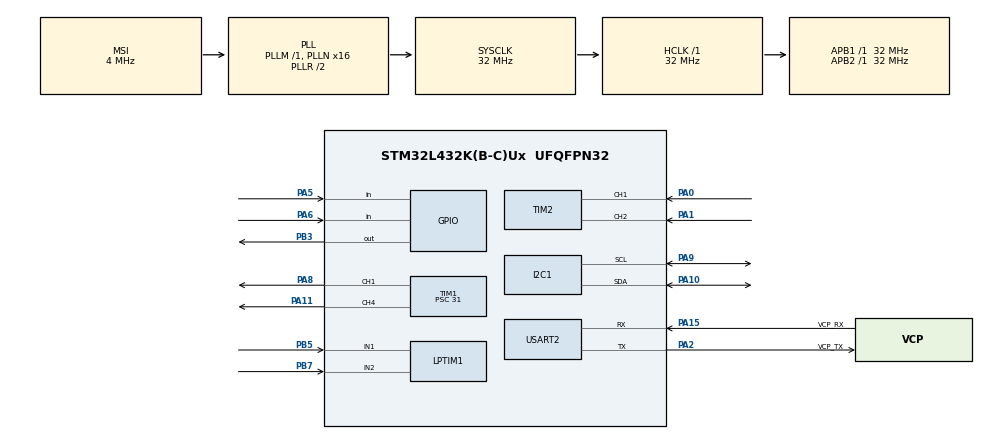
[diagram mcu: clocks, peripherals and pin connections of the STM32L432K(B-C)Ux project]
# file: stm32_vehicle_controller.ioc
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I2C1.Timing=0x00B07CB4
LPTIM1.ULPClockPolarity=LPTIM_CLOCKPOLARITY_RISING_FALLING
Mcu.Family=STM32L4
Mcu.Name=STM32L432K(B-C)Ux
Mcu.Package=UFQFPN32
NUCLEO-L432KC.LD3=true
NVIC.PriorityGroup=NVIC_PRIORITYGROUP_4
NVIC.USART2_IRQn=true\:0\:0\:false\:false\:true\:true\:true\:true
PA0.Signal=S_TIM2_CH1
PA1.Signal=S_TIM2_CH2
PA10.Mode=I2C
PA10.Signal=I2C1_SDA
PA11.Signal=S_TIM1_CH4
PA13\ (JTMS-SWDIO).GPIO_Label=SWDIO
PA13\ (JTMS-SWDIO).Signal=SYS_JTMS-SWDIO
PA14\ (JTCK-SWCLK).GPIO_Label=SWCLK
PA14\ (JTCK-SWCLK).Signal=SYS_JTCK-SWCLK
PA15\ (JTDI).GPIO_Label=VCP_RX
PA15\ (JTDI).Mode=Asynchronous
PA15\ (JTDI).Signal=USART2_RX
PA2.GPIO_Label=VCP_TX
PA2.Mode=Asynchronous
PA2.Signal=USART2_TX
PA5.Signal=GPIO_Input
PA6.Signal=GPIO_Input
PA8.Signal=S_TIM1_CH1
PA9.Mode=I2C
PA9.Signal=I2C1_SCL
PB3\ (JTDO-TRACESWO).Signal=GPIO_Output
PB5.Mode=Encoder_mode_occur1
PB5.Signal=LPTIM1_IN1
PB7.Mode=Encoder_mode_occur1
PB7.Signal=LPTIM1_IN2
PC14-OSC32_IN\ (PC14).Signal=RCC_OSC32_IN
PC15-OSC32_OUT\ (PC15).Signal=RCC_OSC32_OUT
ProjectManager.HeapSize=0x200
ProjectManager.StackSize=0x400
ProjectManager.TargetToolchain=STM32CubeIDE
RCC.AHBFreq_Value=32000000
RCC.APB1Freq_Value=32000000
RCC.APB1TimFreq_Value=32000000
RCC.APB2Freq_Value=32000000
RCC.APB2TimFreq_Value=32000000
RCC.CortexFreq_Value=32000000
RCC.HCLKFreq_Value=32000000
RCC.HSE_VALUE=8000000
RCC.HSI16_VALUE=16000000
RCC.HSI48_VALUE=48000000
RCC.HSI_VALUE=16000000
RCC.LSE_VALUE=32768
RCC.MSI_VALUE=4000000
RCC.PLLMUL=RCC_PLLMUL_4
RCC.PLLN=16
RCC.SYSCLKFreq_VALUE=32000000
RCC.SYSCLKSource=RCC_SYSCLKSOURCE_PLLCLK
RCC.VCOOutputFreq_Value=64000000
SH.S_TIM1_CH1.0=TIM1_CH1,PWM Generation1 CH1
SH.S_TIM1_CH4.0=TIM1_CH4,PWM Generation4 CH4
SH.S_TIM2_CH1.0=TIM2_CH1,Encoder_Interface
SH.S_TIM2_CH2.0=TIM2_CH2,Encoder_Interface
TIM1.Channel-PWM\ Generation1\ CH1=TIM_CHANNEL_1
TIM1.Channel-PWM\ Generation4\ CH4=TIM_CHANNEL_4
TIM1.Period=19999
TIM1.Prescaler=31
TIM1.Pulse-PWM\ Generation1\ CH1=1500
TIM1.Pulse-PWM\ Generation4\ CH4=1500
TIM2.EncoderMode=TIM_ENCODERMODE_TI12
USART2.VirtualMode-Asynchronous=VM_ASYNC
VP_NUCLEO-L432KC_VS_BSP_COMMON.Mode=COMMON
board=NUCLEO-L432KC

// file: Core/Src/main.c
/* USER CODE BEGIN Header */
/**
  ******************************************************************************
  * @file           : main.c
  * @brief          : Main program body
  ******************************************************************************
  * @attention
  *
  * Copyright (c) 2026 STMicroelectronics.
  * All rights reserved.
  *
  * This software is licensed under terms that can be found in the LICENSE file
  * in the root directory of this software component.
  * If no LICENSE file comes with this software, it is provided AS-IS.
  *
  ******************************************************************************
  */
/* USER CODE END Header */
#include "main.h"

/* USER CODE BEGIN Includes */
#include <stdio.h>
#include <string.h>
/* USER CODE END Includes */

/* USER CODE BEGIN PD */
#define MPU9250_ADDR          (0x68 << 1)
#define MPU9250_WHO_AM_I      0x75
#define MPU9250_PWR_MGMT_1    0x6B
#define MPU9250_TIMEOUT_MS    10
#define MPU9250_ACCEL_XOUT_H   0x3B
#define UART_RX_RING_SIZE 256
#define GYRO_BIAS_X    (-93.59f)
#define GYRO_BIAS_Y    (193.61f)
#define GYRO_BIAS_Z    (-44.02f)
#define ACCEL_BIAS_X    433.2640f
#define ACCEL_BIAS_Y    369.6160f
#define ACCEL_BIAS_Z    4045.8200f

#define ACCEL_SCALE_X   0.999424f
#define ACCEL_SCALE_Y   1.000798f
#define ACCEL_SCALE_Z   0.983851f

#define MPU9250_USER_CTRL      0x6A
#define MPU9250_INT_PIN_CFG    0x37

#define AK8963_ADDR           (0x0C << 1)
#define AK8963_WIA            0x00

#define AK8963_ST1           0x02
#define AK8963_HXL           0x03
#define AK8963_CNTL1         0x0A
#define AK8963_ASAX          0x10

#define MAG_BIAS_X     34.956988f
#define MAG_BIAS_Y     55.816963f
#define MAG_BIAS_Z   -342.012000f

#define MAG_SCALE_X    0.974791f
#define MAG_SCALE_Y    1.038557f
#define MAG_SCALE_Z    1.025115f

#define TELEMETRY_PERIOD_MS 100
/* USER CODE END PD */

/* USER CODE BEGIN PM */
#define STEERING_NEG_US          1100
#define STEERING_CENTER_US       1400
#define STEERING_POS_US          1700

#define ESC_FULL_REVERSE_US      1100
#define ESC_REVERSE_START_US     1200
#define ESC_NEUTRAL_US           1500
#define ESC_FORWARD_START_US     1600
#define ESC_FULL_FORWARD_US      1900

#define COMMAND_MAX              1000
#define UART_BUFFER_SIZE         64
#define SERIAL_WATCHDOG_MS       500
/* USER CODE END PM */

I2C_HandleTypeDef hi2c1;

LPTIM_HandleTypeDef hlptim1;

TIM_HandleTypeDef htim1;
TIM_HandleTypeDef htim2;

UART_HandleTypeDef huart2;

/* USER CODE BEGIN PV */
uint8_t rx_byte;

char rx_buffer[UART_BUFFER_SIZE];
uint8_t rx_index = 0;

uint32_t last_command_ms = 0;
uint8_t watchdog_active = 0;

int16_t steering_cmd = 0;
int16_t throttle_cmd = 0;

uint16_t steering_pwm = STEERING_CENTER_US;
uint16_t esc_pwm = ESC_NEUTRAL_US;

int8_t drive_direction = 0;
// -1 = reverse
//  0 = neutral
// +1 = forward

static uint32_t prev_left = 0;
static uint16_t prev_right = 0;

static int64_t total_left = 0;
static int64_t total_right = 0;

static uint8_t imu_ready = 0;

static int16_t ax, ay, az;
static int16_t gx, gy, gz;

static volatile uint8_t rx_ring[UART_RX_RING_SIZE];

static volatile uint8_t rx_head = 0;
static volatile uint8_t rx_tail = 0;

static volatile uint8_t rx_fault = 0;
static uint8_t rx_discard = 0;

static volatile uint32_t rx_count = 0;
static volatile uint32_t rx_error = 0;
static uint32_t last_debug_ms = 0;

static float gx_corrected;
static float gy_corrected;
static float gz_corrected;

static float ax_corrected;
static float ay_corrected;
static float az_corrected;

static uint8_t mag_ready = 0;

static int16_t mx, my, mz;

static float mag_adjust[3];

static float mx_corrected;
static float my_corrected;
static float mz_corrected;

static uint32_t last_telemetry_ms = 0;

static uint8_t rx_needs_neutral = 0;
static uint32_t rx_recoveries = 0;
/* USER CODE END PV */

void SystemClock_Config(void);
static void MX_GPIO_Init(void);
static void MX_TIM1_Init(void);
static void MX_USART2_UART_Init(void);
static void MX_I2C1_Init(void);
static void MX_LPTIM1_Init(void);
static void MX_TIM2_Init(void);

/* USER CODE BEGIN 0 */
static void int64_to_string(int64_t value, char *out)
{
    char temp[21];
    int i = 0;

    uint64_t magnitude = value < 0
        ? (uint64_t)(-(value + 1)) + 1
        : (uint64_t)value;

    if (value < 0)
        *out++ = '-';

    do
    {
        temp[i++] = '0' + magnitude % 10;
        magnitude /= 10;
    }
    while (magnitude > 0);

    while (i > 0)
        *out++ = temp[--i];

    *out = '\0';
}
static uint8_t ak8963_detect(void)
{
    uint8_t data;

    // Disable internal I2C master
    data = 0x00;

    if (HAL_I2C_Mem_Write(
            &hi2c1,
            MPU9250_ADDR,
            MPU9250_USER_CTRL,
            I2C_MEMADD_SIZE_8BIT,
            &data, 1, MPU9250_TIMEOUT_MS) != HAL_OK)
    {
        return 0;
    }

    // Enable bypass mode
    data = 0x02;

    if (HAL_I2C_Mem_Write(
            &hi2c1,
            MPU9250_ADDR,
            MPU9250_INT_PIN_CFG,
            I2C_MEMADD_SIZE_8BIT,
            &data, 1, MPU9250_TIMEOUT_MS) != HAL_OK)
    {
        return 0;
    }

    // Read magnetometer device ID
    data = 0;

    if (HAL_I2C_Mem_Read(
            &hi2c1,
            AK8963_ADDR,
            AK8963_WIA,
            I2C_MEMADD_SIZE_8BIT,
            &data, 1, MPU9250_TIMEOUT_MS) != HAL_OK)
    {
        return 0;
    }

    return data == 0x48;
}

static uint8_t ak8963_set_mode(uint8_t mode)
{
    return HAL_I2C_Mem_Write(
        &hi2c1,
        AK8963_ADDR,
        AK8963_CNTL1,
        I2C_MEMADD_SIZE_8BIT,
        &mode, 1, MPU9250_TIMEOUT_MS
    ) == HAL_OK;
}

static uint8_t ak8963_init(void)
{
    uint8_t asa[3];

    // Power-down mode
    if (!ak8963_set_mode(0x00))
        return 0;

    HAL_Delay(1);

    // Fuse ROM access mode
    if (!ak8963_set_mode(0x0F))
        return 0;

    HAL_Delay(1);

    // Read factory sensitivity adjustment
    if (HAL_I2C_Mem_Read(
            &hi2c1,
            AK8963_ADDR,
            AK8963_ASAX,
            I2C_MEMADD_SIZE_8BIT,
            asa, 3, MPU9250_TIMEOUT_MS) != HAL_OK)
    {
        return 0;
    }

    for (int i = 0; i < 3; i++)
    {
        mag_adjust[i] =
            ((float)asa[i] - 128.0f) / 256.0f + 1.0f;
    }

    // Return to power-down mode
    if (!ak8963_set_mode(0x00))
        return 0;

    HAL_Delay(1);

    // Continuous measurement, 100 Hz, 16 bits
    if (!ak8963_set_mode(0x16))
        return 0;

    return 1;
}

static uint8_t mpu9250_read_raw(void)
{
    uint8_t data[14];

    if (HAL_I2C_Mem_Read(
            &hi2c1,
            MPU9250_ADDR,
            MPU9250_ACCEL_XOUT_H,
            I2C_MEMADD_SIZE_8BIT,
            data,
            14,
            MPU9250_TIMEOUT_MS) != HAL_OK)
    {
        return 0;
    }

    ax = (int16_t)((data[0] << 8) | data[1]);
    ay = (int16_t)((data[2] << 8) | data[3]);
    az = (int16_t)((data[4] << 8) | data[5]);

    gx = (int16_t)((data[8] << 8) | data[9]);
    gy = (int16_t)((data[10] << 8) | data[11]);
    gz = (int16_t)((data[12] << 8) | data[13]);

    gx_corrected = (float)gx - GYRO_BIAS_X;
    gy_corrected = (float)gy - GYRO_BIAS_Y;
    gz_corrected = (float)gz - GYRO_BIAS_Z;

    ax_corrected = ((float)ax - ACCEL_BIAS_X) * ACCEL_SCALE_X;
    ay_corrected = ((float)ay - ACCEL_BIAS_Y) * ACCEL_SCALE_Y;
    az_corrected = ((float)az - ACCEL_BIAS_Z) * ACCEL_SCALE_Z;

    return 1;
}

static uint8_t mpu9250_init(void)
{
    uint8_t who_am_i = 0;

    if (HAL_I2C_Mem_Read(
            &hi2c1,
            MPU9250_ADDR,
            MPU9250_WHO_AM_I,
            I2C_MEMADD_SIZE_8BIT,
            &who_am_i,
            1,
            MPU9250_TIMEOUT_MS) != HAL_OK)
    {
        return 0;
    }

    if (who_am_i != 0x71)
    {
        return 0;
    }

    uint8_t data = 0x00;

    if (HAL_I2C_Mem_Write(
            &hi2c1,
            MPU9250_ADDR,
            MPU9250_PWR_MGMT_1,
            I2C_MEMADD_SIZE_8BIT,
            &data,
            1,
            MPU9250_TIMEOUT_MS) != HAL_OK)
    {
        return 0;
    }

    return 1;
}

static int16_t clamp_command(int value)
{
    if (value > COMMAND_MAX)
        return COMMAND_MAX;

    if (value < -COMMAND_MAX)
        return -COMMAND_MAX;

    return (int16_t)value;
}

static uint16_t steering_to_pwm(int16_t command)
{
    if (command > 0)
    {
        return STEERING_CENTER_US -
            ((uint32_t)command *
            (STEERING_CENTER_US - STEERING_NEG_US)) /
            COMMAND_MAX;
    }

    if (command < 0)
    {
        return STEERING_CENTER_US +
            ((uint32_t)(-command) *
            (STEERING_POS_US - STEERING_CENTER_US)) /
            COMMAND_MAX;
    }

    return STEERING_CENTER_US;
}

static uint16_t throttle_to_pwm(int16_t command)
{
    if (command > 0)
    {
        return ESC_FORWARD_START_US +
            ((uint32_t)command *
            (ESC_FULL_FORWARD_US - ESC_FORWARD_START_US)) /
            COMMAND_MAX;
    }

    if (command < 0)
    {
        return ESC_REVERSE_START_US -
            ((uint32_t)(-command) *
            (ESC_REVERSE_START_US - ESC_FULL_REVERSE_US)) /
            COMMAND_MAX;
    }

    return ESC_NEUTRAL_US;
}

static void apply_vehicle_command(int16_t steering, int16_t throttle)
{
    steering = clamp_command(steering);
    throttle = clamp_command(throttle);

    steering_cmd = steering;
    throttle_cmd = throttle;

    steering_pwm = steering_to_pwm(steering);

    __HAL_TIM_SET_COMPARE(
        &htim1,
        TIM_CHANNEL_1,
        steering_pwm
    );

    int8_t requested_direction = 0;

    if (throttle > 0)
        requested_direction = 1;
    else if (throttle < 0)
        requested_direction = -1;

    /*
     * Direct direction change:
     *
     * forward -> reverse
     * reverse -> forward
     *
     * Force an explicit neutral cycle first.
     */
    if (
        drive_direction != 0 &&
        requested_direction != 0 &&
        requested_direction != drive_direction
    )
    {
        esc_pwm = ESC_NEUTRAL_US;
        drive_direction = 0;

        __HAL_TIM_SET_COMPARE(
            &htim1,
            TIM_CHANNEL_4,
            esc_pwm
        );

        return;
    }

    esc_pwm = throttle_to_pwm(throttle);

    __HAL_TIM_SET_COMPARE(
        &htim1,
        TIM_CHANNEL_4,
        esc_pwm
    );

    drive_direction = requested_direction;
}

static void uart_recover(void)
{
    // Stop the vehicle
    apply_vehicle_command(0, 0);
    watchdog_active = 1;
    rx_needs_neutral = 1;

    HAL_NVIC_DisableIRQ(USART2_IRQn);

    if (HAL_UART_AbortReceive(&huart2) == HAL_OK)
    {
        __HAL_UART_CLEAR_FLAG(
            &huart2,
            UART_CLEAR_OREF | UART_CLEAR_FEF |
            UART_CLEAR_NEF | UART_CLEAR_PEF
        );

        __HAL_UART_SEND_REQ(
            &huart2, UART_RXDATA_FLUSH_REQUEST
        );

        // Reset reception buffers
        rx_head = 0;
        rx_tail = 0;
        rx_index = 0;
        rx_discard = 1;

        rx_fault = 0;

        if (HAL_UART_Receive_IT(
                &huart2, &rx_byte, 1) == HAL_OK)
        {
            rx_recoveries++;
        }
        else
        {
            rx_fault = 1;
        }
    }

    HAL_NVIC_EnableIRQ(USART2_IRQn);
}

static void send_status(void)
{
    char buffer[128];

    snprintf(
        buffer,
        sizeof(buffer),
        "OK S=%d T=%d SPWM=%u EPWM=%u\r\n",
        steering_cmd,
        throttle_cmd,
        steering_pwm,
        esc_pwm
    );

    HAL_UART_Transmit(
        &huart2,
        (uint8_t *)buffer,
        strlen(buffer),
        HAL_MAX_DELAY
    );
}

static void process_command(char *line)
{
    int steering;
    int throttle;

    if (sscanf(line, "C,%d,%d", &steering, &throttle) == 2)
    {
    	if (rx_fault)
    	    return;

    	if (rx_needs_neutral)
    	{
    	    if (steering != 0 || throttle != 0)
    	        return;

    	    rx_needs_neutral = 0;
    	}

        apply_vehicle_command(
            (int16_t)steering,
            (int16_t)throttle
        );

        last_command_ms = HAL_GetTick();
        watchdog_active = 0;

        send_status();
    }

}

static uint8_t ak8963_read_raw(void)
{
    uint8_t status;
    uint8_t data[7];

    if (HAL_I2C_Mem_Read(
            &hi2c1,
            AK8963_ADDR,
            AK8963_ST1,
            I2C_MEMADD_SIZE_8BIT,
            &status, 1, MPU9250_TIMEOUT_MS) != HAL_OK)
    {
        return 0;
    }

    // Check data ready
    if (!(status & 0x01))
        return 0;

    // Read measurement and ST2
    if (HAL_I2C_Mem_Read(
            &hi2c1,
            AK8963_ADDR,
            AK8963_HXL,
            I2C_MEMADD_SIZE_8BIT,
            data, 7, MPU9250_TIMEOUT_MS) != HAL_OK)
    {
        return 0;
    }

    // Reject magnetic overflow
    if (data[6] & 0x08)
        return 0;

    mx = (int16_t)((data[1] << 8) | data[0]);
    my = (int16_t)((data[3] << 8) | data[2]);
    mz = (int16_t)((data[5] << 8) | data[4]);

    mx_corrected = (mx * mag_adjust[0] - MAG_BIAS_X) * MAG_SCALE_X;

    my_corrected = (my * mag_adjust[1] - MAG_BIAS_Y) * MAG_SCALE_Y;

    mz_corrected = (mz * mag_adjust[2] - MAG_BIAS_Z) * MAG_SCALE_Z;

    return 1;
}

static void telemetry_update(void)
{
    uint32_t now = HAL_GetTick();

    if (now - last_telemetry_ms < TELEMETRY_PERIOD_MS)
        return;

    last_telemetry_ms = now;

    // Read encoders
    uint32_t left = __HAL_TIM_GET_COUNTER(&htim2);
    uint16_t right = HAL_LPTIM_ReadCounter(&hlptim1);

    if (right != HAL_LPTIM_ReadCounter(&hlptim1))
        return;

    // Handle counter wraparound
    total_left += (int32_t)(left - prev_left);
    total_right += (int16_t)(right - prev_right);

    prev_left = left;
    prev_right = right;

    // Read sensors
    uint8_t imu_valid = imu_ready && mpu9250_read_raw();
    uint8_t mag_valid = mag_ready && ak8963_read_raw();

    // Format encoder counters
    char left_str[22];
    char right_str[22];

    int64_to_string(total_left, left_str);
    int64_to_string(total_right, right_str);

    // Build telemetry packet
    char msg[192];

    int len = snprintf(
        msg, sizeof(msg),
        "T,%lu,%s,%s,%u,%d,%d,%d,%d,%d,%d,%u,%d,%d,%d\r\n",
        (unsigned long)now,
        left_str,
        right_str,
        (unsigned int)imu_valid,
        imu_valid ? (int)ax_corrected : 0,
        imu_valid ? (int)ay_corrected : 0,
        imu_valid ? (int)az_corrected : 0,
        imu_valid ? (int)gx_corrected : 0,
        imu_valid ? (int)gy_corrected : 0,
        imu_valid ? (int)gz_corrected : 0,
        (unsigned int)mag_valid,
        mag_valid ? (int)mx_corrected : 0,
        mag_valid ? (int)my_corrected : 0,
        mag_valid ? (int)mz_corrected : 0
    );

    if (len > 0 && len < (int)sizeof(msg))
    {
        HAL_UART_Transmit(
            &huart2, (uint8_t *)msg, len, 20
        );
    }
}
/* USER CODE END 0 */

int main(void)
{

  /* MCU Configuration--------------------------------------------------------*/

  /* Reset of all peripherals, Initializes the Flash interface and the Systick. */
  HAL_Init();

  /* Configure the system clock */
  SystemClock_Config();

  /* Initialize all configured peripherals */
  MX_GPIO_Init();
  MX_TIM1_Init();
  MX_USART2_UART_Init();
  MX_I2C1_Init();
  MX_LPTIM1_Init();
  MX_TIM2_Init();
  /* USER CODE BEGIN 2 */
  HAL_TIM_PWM_Start(&htim1, TIM_CHANNEL_1);
  HAL_TIM_PWM_Start(&htim1, TIM_CHANNEL_4);

  apply_vehicle_command(0, 0);

  last_command_ms = HAL_GetTick();

  if (HAL_TIM_Encoder_Start(&htim2, TIM_CHANNEL_ALL) != HAL_OK)
  {
      Error_Handler();
  }

  if (HAL_LPTIM_Encoder_Start(&hlptim1, 65535) != HAL_OK)
  {
      Error_Handler();
  }

  prev_left = __HAL_TIM_GET_COUNTER(&htim2);
  prev_right = HAL_LPTIM_ReadCounter(&hlptim1);

  imu_ready = mpu9250_init();

  const char *msg = imu_ready
      ? "IMU OK\r\n"
      : "IMU ERROR\r\n";

  HAL_UART_Transmit(
      &huart2,
      (uint8_t *)msg,
      strlen(msg),
      20
  );

  if (HAL_UART_Receive_IT(&huart2, &rx_byte, 1) != HAL_OK)
  {
      rx_fault = 1;
  }

  mag_ready = imu_ready &&
              ak8963_detect() &&
              ak8963_init();

  const char *mag_msg = mag_ready
      ? "MAG OK\r\n"
      : "MAG ERROR\r\n";

  HAL_UART_Transmit(
      &huart2,
      (uint8_t *)mag_msg,
      strlen(mag_msg),
      20
  );
  /* USER CODE END 2 */

  /* Initialize leds */
  BSP_LED_Init(LED_GREEN);

  /* Infinite loop */
  /* USER CODE BEGIN WHILE */
  while (1)
  {
	  telemetry_update();

	  while (!rx_fault && rx_tail != rx_head)
	  {
	      uint8_t byte = rx_ring[rx_tail];
	      rx_tail = (uint8_t)(rx_tail + 1);

	      if (byte == '\n' || byte == '\r')
	      {
	          if (!rx_discard && rx_index > 0 && !rx_fault)
	          {
	              rx_buffer[rx_index] = '\0';
	              process_command(rx_buffer);
	          }

	          rx_index = 0;
	          rx_discard = 0;
	      }
	      else if (!rx_discard)
	      {
	          if (rx_index < UART_BUFFER_SIZE - 1)
	          {
	              rx_buffer[rx_index++] = byte;
	          }
	          else
	          {
	              rx_index = 0;
	              rx_discard = 1;
	          }
	      }
	  }

	  if (rx_fault)
	  {
	      uart_recover();
	  }

	  if (
		  !watchdog_active &&
		  (HAL_GetTick() - last_command_ms > SERIAL_WATCHDOG_MS)
	  )
	  {
		  apply_vehicle_command(0, 0);

		  watchdog_active = 1;
	  }
	  if (HAL_GetTick() - last_debug_ms >= 1000)
	  {
		  last_debug_ms = HAL_GetTick();

		  char msg[100];

		  int len = snprintf(
		      msg, sizeof(msg),
		      "DEBUG RX=%lu FAULT=%u ERROR=0x%lX REC=%lu ARM=%u\r\n",
		      (unsigned long)rx_count,
		      (unsigned int)rx_fault,
		      (unsigned long)rx_error,
		      (unsigned long)rx_recoveries,
		      (unsigned int)(!rx_needs_neutral && !rx_fault)
		  );

		  HAL_UART_Transmit(
			  &huart2, (uint8_t *)msg, len, 10
		  );
	  }
    /* USER CODE END WHILE */

  }
}

void SystemClock_Config(void)
{
  RCC_OscInitTypeDef RCC_OscInitStruct = {0};
  RCC_ClkInitTypeDef RCC_ClkInitStruct = {0};

  /** Configure the main internal regulator output voltage
  */
  if (HAL_PWREx_ControlVoltageScaling(PWR_REGULATOR_VOLTAGE_SCALE1) != HAL_OK)
  {
    Error_Handler();
  }

  /** Initializes the RCC Oscillators according to the specified parameters
  * in the RCC_OscInitTypeDef structure.
  */
  RCC_OscInitStruct.OscillatorType = RCC_OSCILLATORTYPE_MSI;
  RCC_OscInitStruct.MSIState = RCC_MSI_ON;
  RCC_OscInitStruct.MSICalibrationValue = 0;
  RCC_OscInitStruct.MSIClockRange = RCC_MSIRANGE_6;
  RCC_OscInitStruct.PLL.PLLState = RCC_PLL_ON;
  RCC_OscInitStruct.PLL.PLLSource = RCC_PLLSOURCE_MSI;
  RCC_OscInitStruct.PLL.PLLM = 1;
  RCC_OscInitStruct.PLL.PLLN = 16;
  RCC_OscInitStruct.PLL.PLLP = RCC_PLLP_DIV7;
  RCC_OscInitStruct.PLL.PLLQ = RCC_PLLQ_DIV2;
  RCC_OscInitStruct.PLL.PLLR = RCC_PLLR_DIV2;
  if (HAL_RCC_OscConfig(&RCC_OscInitStruct) != HAL_OK)
  {
    Error_Handler();
  }

  /** Initializes the CPU, AHB and APB buses clocks
  */
  RCC_ClkInitStruct.ClockType = RCC_CLOCKTYPE_HCLK|RCC_CLOCKTYPE_SYSCLK
                              |RCC_CLOCKTYPE_PCLK1|RCC_CLOCKTYPE_PCLK2;
  RCC_ClkInitStruct.SYSCLKSource = RCC_SYSCLKSOURCE_PLLCLK;
  RCC_ClkInitStruct.AHBCLKDivider = RCC_SYSCLK_DIV1;
  RCC_ClkInitStruct.APB1CLKDivider = RCC_HCLK_DIV1;
  RCC_ClkInitStruct.APB2CLKDivider = RCC_HCLK_DIV1;

  if (HAL_RCC_ClockConfig(&RCC_ClkInitStruct, FLASH_LATENCY_1) != HAL_OK)
  {
    Error_Handler();
  }
}

static void MX_I2C1_Init(void)
{

  hi2c1.Instance = I2C1;
  hi2c1.Init.Timing = 0x00B07CB4;
  hi2c1.Init.OwnAddress1 = 0;
  hi2c1.Init.AddressingMode = I2C_ADDRESSINGMODE_7BIT;
  hi2c1.Init.DualAddressMode = I2C_DUALADDRESS_DISABLE;
  hi2c1.Init.OwnAddress2 = 0;
  hi2c1.Init.OwnAddress2Masks = I2C_OA2_NOMASK;
  hi2c1.Init.GeneralCallMode = I2C_GENERALCALL_DISABLE;
  hi2c1.Init.NoStretchMode = I2C_NOSTRETCH_DISABLE;
  if (HAL_I2C_Init(&hi2c1) != HAL_OK)
  {
    Error_Handler();
  }

  /** Configure Analogue filter
  */
  if (HAL_I2CEx_ConfigAnalogFilter(&hi2c1, I2C_ANALOGFILTER_ENABLE) != HAL_OK)
  {
    Error_Handler();
  }

  /** Configure Digital filter
  */
  if (HAL_I2CEx_ConfigDigitalFilter(&hi2c1, 0) != HAL_OK)
  {
    Error_Handler();
  }

}

static void MX_LPTIM1_Init(void)
{

  hlptim1.Instance = LPTIM1;
  hlptim1.Init.Clock.Source = LPTIM_CLOCKSOURCE_APBCLOCK_LPOSC;
  hlptim1.Init.Clock.Prescaler = LPTIM_PRESCALER_DIV1;
  hlptim1.Init.UltraLowPowerClock.Polarity = LPTIM_CLOCKPOLARITY_RISING_FALLING;
  hlptim1.Init.UltraLowPowerClock.SampleTime = LPTIM_CLOCKSAMPLETIME_DIRECTTRANSITION;
  hlptim1.Init.Trigger.Source = LPTIM_TRIGSOURCE_SOFTWARE;
  hlptim1.Init.OutputPolarity = LPTIM_OUTPUTPOLARITY_HIGH;
  hlptim1.Init.UpdateMode = LPTIM_UPDATE_IMMEDIATE;
  hlptim1.Init.CounterSource = LPTIM_COUNTERSOURCE_EXTERNAL;
  hlptim1.Init.Input1Source = LPTIM_INPUT1SOURCE_GPIO;
  hlptim1.Init.Input2Source = LPTIM_INPUT2SOURCE_GPIO;
  if (HAL_LPTIM_Init(&hlptim1) != HAL_OK)
  {
    Error_Handler();
  }

}

static void MX_TIM1_Init(void)
{

  TIM_MasterConfigTypeDef sMasterConfig = {0};
  TIM_OC_InitTypeDef sConfigOC = {0};
  TIM_BreakDeadTimeConfigTypeDef sBreakDeadTimeConfig = {0};

  htim1.Instance = TIM1;
  htim1.Init.Prescaler = 31;
  htim1.Init.CounterMode = TIM_COUNTERMODE_UP;
  htim1.Init.Period = 19999;
  htim1.Init.ClockDivision = TIM_CLOCKDIVISION_DIV1;
  htim1.Init.RepetitionCounter = 0;
  htim1.Init.AutoReloadPreload = TIM_AUTORELOAD_PRELOAD_DISABLE;
  if (HAL_TIM_PWM_Init(&htim1) != HAL_OK)
  {
    Error_Handler();
  }
  sMasterConfig.MasterOutputTrigger = TIM_TRGO_RESET;
  sMasterConfig.MasterOutputTrigger2 = TIM_TRGO2_RESET;
  sMasterConfig.MasterSlaveMode = TIM_MASTERSLAVEMODE_DISABLE;
  if (HAL_TIMEx_MasterConfigSynchronization(&htim1, &sMasterConfig) != HAL_OK)
  {
    Error_Handler();
  }
  sConfigOC.OCMode = TIM_OCMODE_PWM1;
  sConfigOC.Pulse = 1500;
  sConfigOC.OCPolarity = TIM_OCPOLARITY_HIGH;
  sConfigOC.OCNPolarity = TIM_OCNPOLARITY_HIGH;
  sConfigOC.OCFastMode = TIM_OCFAST_DISABLE;
  sConfigOC.OCIdleState = TIM_OCIDLESTATE_RESET;
  sConfigOC.OCNIdleState = TIM_OCNIDLESTATE_RESET;
  if (HAL_TIM_PWM_ConfigChannel(&htim1, &sConfigOC, TIM_CHANNEL_1) != HAL_OK)
  {
    Error_Handler();
  }
  if (HAL_TIM_PWM_ConfigChannel(&htim1, &sConfigOC, TIM_CHANNEL_4) != HAL_OK)
  {
    Error_Handler();
  }
  sBreakDeadTimeConfig.OffStateRunMode = TIM_OSSR_DISABLE;
  sBreakDeadTimeConfig.OffStateIDLEMode = TIM_OSSI_DISABLE;
  sBreakDeadTimeConfig.LockLevel = TIM_LOCKLEVEL_OFF;
  sBreakDeadTimeConfig.DeadTime = 0;
  sBreakDeadTimeConfig.BreakState = TIM_BREAK_DISABLE;
  sBreakDeadTimeConfig.BreakPolarity = TIM_BREAKPOLARITY_HIGH;
  sBreakDeadTimeConfig.BreakFilter = 0;
  sBreakDeadTimeConfig.Break2State = TIM_BREAK2_DISABLE;
  sBreakDeadTimeConfig.Break2Polarity = TIM_BREAK2POLARITY_HIGH;
  sBreakDeadTimeConfig.Break2Filter = 0;
  sBreakDeadTimeConfig.AutomaticOutput = TIM_AUTOMATICOUTPUT_DISABLE;
  if (HAL_TIMEx_ConfigBreakDeadTime(&htim1, &sBreakDeadTimeConfig) != HAL_OK)
  {
    Error_Handler();
  }
  HAL_TIM_MspPostInit(&htim1);

}

static void MX_TIM2_Init(void)
{

  TIM_Encoder_InitTypeDef sConfig = {0};
  TIM_MasterConfigTypeDef sMasterConfig = {0};

  htim2.Instance = TIM2;
  htim2.Init.Prescaler = 0;
  htim2.Init.CounterMode = TIM_COUNTERMODE_UP;
  htim2.Init.Period = 4294967295;
  htim2.Init.ClockDivision = TIM_CLOCKDIVISION_DIV1;
  htim2.Init.AutoReloadPreload = TIM_AUTORELOAD_PRELOAD_DISABLE;
  sConfig.EncoderMode = TIM_ENCODERMODE_TI12;
  sConfig.IC1Polarity = TIM_ICPOLARITY_RISING;
  sConfig.IC1Selection = TIM_ICSELECTION_DIRECTTI;
  sConfig.IC1Prescaler = TIM_ICPSC_DIV1;
  sConfig.IC1Filter = 0;
  sConfig.IC2Polarity = TIM_ICPOLARITY_RISING;
  sConfig.IC2Selection = TIM_ICSELECTION_DIRECTTI;
  sConfig.IC2Prescaler = TIM_ICPSC_DIV1;
  sConfig.IC2Filter = 0;
  if (HAL_TIM_Encoder_Init(&htim2, &sConfig) != HAL_OK)
  {
    Error_Handler();
  }
  sMasterConfig.MasterOutputTrigger = TIM_TRGO_RESET;
  sMasterConfig.MasterSlaveMode = TIM_MASTERSLAVEMODE_DISABLE;
  if (HAL_TIMEx_MasterConfigSynchronization(&htim2, &sMasterConfig) != HAL_OK)
  {
    Error_Handler();
  }

}

static void MX_USART2_UART_Init(void)
{

  huart2.Instance = USART2;
  huart2.Init.BaudRate = 115200;
  huart2.Init.WordLength = UART_WORDLENGTH_8B;
  huart2.Init.StopBits = UART_STOPBITS_1;
  huart2.Init.Parity = UART_PARITY_NONE;
  huart2.Init.Mode = UART_MODE_TX_RX;
  huart2.Init.HwFlowCtl = UART_HWCONTROL_NONE;
  huart2.Init.OverSampling = UART_OVERSAMPLING_16;
  huart2.Init.OneBitSampling = UART_ONE_BIT_SAMPLE_DISABLE;
  huart2.AdvancedInit.AdvFeatureInit = UART_ADVFEATURE_NO_INIT;
  if (HAL_UART_Init(&huart2) != HAL_OK)
  {
    Error_Handler();
  }

}

static void MX_GPIO_Init(void)
{
  GPIO_InitTypeDef GPIO_InitStruct = {0};

  /* GPIO Ports Clock Enable */
  __HAL_RCC_GPIOC_CLK_ENABLE();
  __HAL_RCC_GPIOA_CLK_ENABLE();
  __HAL_RCC_GPIOB_CLK_ENABLE();

  /*Configure GPIO pins : PA5 PA6 */
  GPIO_InitStruct.Pin = GPIO_PIN_5|GPIO_PIN_6;
  GPIO_InitStruct.Mode = GPIO_MODE_INPUT;
  GPIO_InitStruct.Pull = GPIO_NOPULL;
  HAL_GPIO_Init(GPIOA, &GPIO_InitStruct);

}

/* USER CODE BEGIN 4 */
void HAL_UART_RxCpltCallback(UART_HandleTypeDef *huart)
{
    if (huart->Instance != USART2)
        return;

    rx_count++;

    if (rx_fault)
        return;

    uint8_t next = (uint8_t)(rx_head + 1);

    if (next == rx_tail)
    {
        rx_fault = 1;
        return;
    }

    rx_ring[rx_head] = rx_byte;
    rx_head = next;

    if (HAL_UART_Receive_IT(&huart2, &rx_byte, 1) != HAL_OK)
    {
        rx_fault = 1;
    }
}

void HAL_UART_ErrorCallback(UART_HandleTypeDef *huart)
{
    if (huart->Instance == USART2)
    {
        rx_error = HAL_UART_GetError(huart);
        rx_fault = 1;
    }
}
/* USER CODE END 4 */

void Error_Handler(void)
{
  __disable_irq();
  while (1)
  {
  }
}
